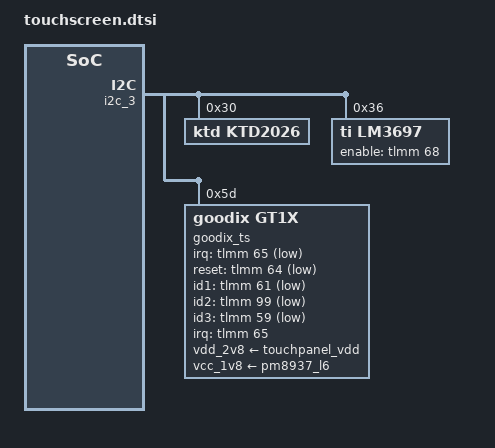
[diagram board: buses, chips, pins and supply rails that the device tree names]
&i2c_3 { /* BLSP1 QUP3 */
	ktd2026@30 {
		status = "okay";
		compatible = "ktd,ktd2026";
		reg = <0x30>;
		ktd2026,max_brightness = <0x18>;
	};

	lm3697@36 {
		compatible = "ti,lm3697";
		reg = <0x36>;
		ti,enable-gpio = <&tlmm 68 0x00>;

		lcd_bl {
			backlight-name = "lm3697";
			led-sources = <2>;
			max-current-milliamp = <18>;
			initial-brightness = <1024>;
		};
	};

	goodix_ts@5d {
		compatible = "goodix,gt1x";
		reg = <0x5d>;

		/* Interrupt && Irq-gpio */
		interrupt-parent = <&tlmm>;
		interrupts = <65 0x2001>;

		/* Power Config */
		vdd_2v8-supply = <&touchpanel_vdd>;
		vcc_1v8-supply = <&pm8937_l6>;

		/* Other HW Resource */
		irq-gpio = <&tlmm 65 0x2001>;
		reset-gpio = <&tlmm 64 0x1>;
		id1-gpio = <&tlmm 61 0x1>;
		id2-gpio = <&tlmm 99 0x1>;
		id3-gpio = <&tlmm 59 0x1>;
		pinctrl-names = "default","pin_set_high","pin_set_low","pin_set_nopull";
		pinctrl-0 = <&ts_int_active &ts_reset_active &ts_id1_active &ts_id2_active &ts_id3_active>;
		pinctrl-1 = <&pin_set_high>;
		pinctrl-2 = <&pin_set_low>;
		pinctrl-3 = <&pin_set_nopull>;

		/* Configuration Setting */
		touchpanel,max-num-support = <10>;
		touchpanel,tx-rx-num = <13 24>;
		touchpanel,panel-coords = <720 1280>;
		touchpanel,display-coords = <720 1280>;

		/* SW Support Feature Control */
		register-is-16bit;
		black_gesture_support;
		edge_limit_support;
		esd_handle_support;
		spurious_fingerprint_support;

		/*
		 *Virtual Key Config:
		 *1:touchpanel,button-type: <virtualkey_type  supportted_button-map>
		 *virtualkey_type:
		 *Type 1: using board_properties
		 *Type 2: using same IC (button zone&& touch zone are seprate)
		 *Type 3: using diffrent IC (button zone&& touch zone are seprate)
		 *Type 4: No need of virtual key process
		 *supportted_button-map:select|menu|home|back
		 *
		 *2:touchpanel,button-map
		 *type (X1,Y1)(X2,Y2)(X3,Y3)(Width_X,Hight_Y)--Only when button-type is 0
		 */
		touchpanel,button-type = <2 0x05>;
	};
};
